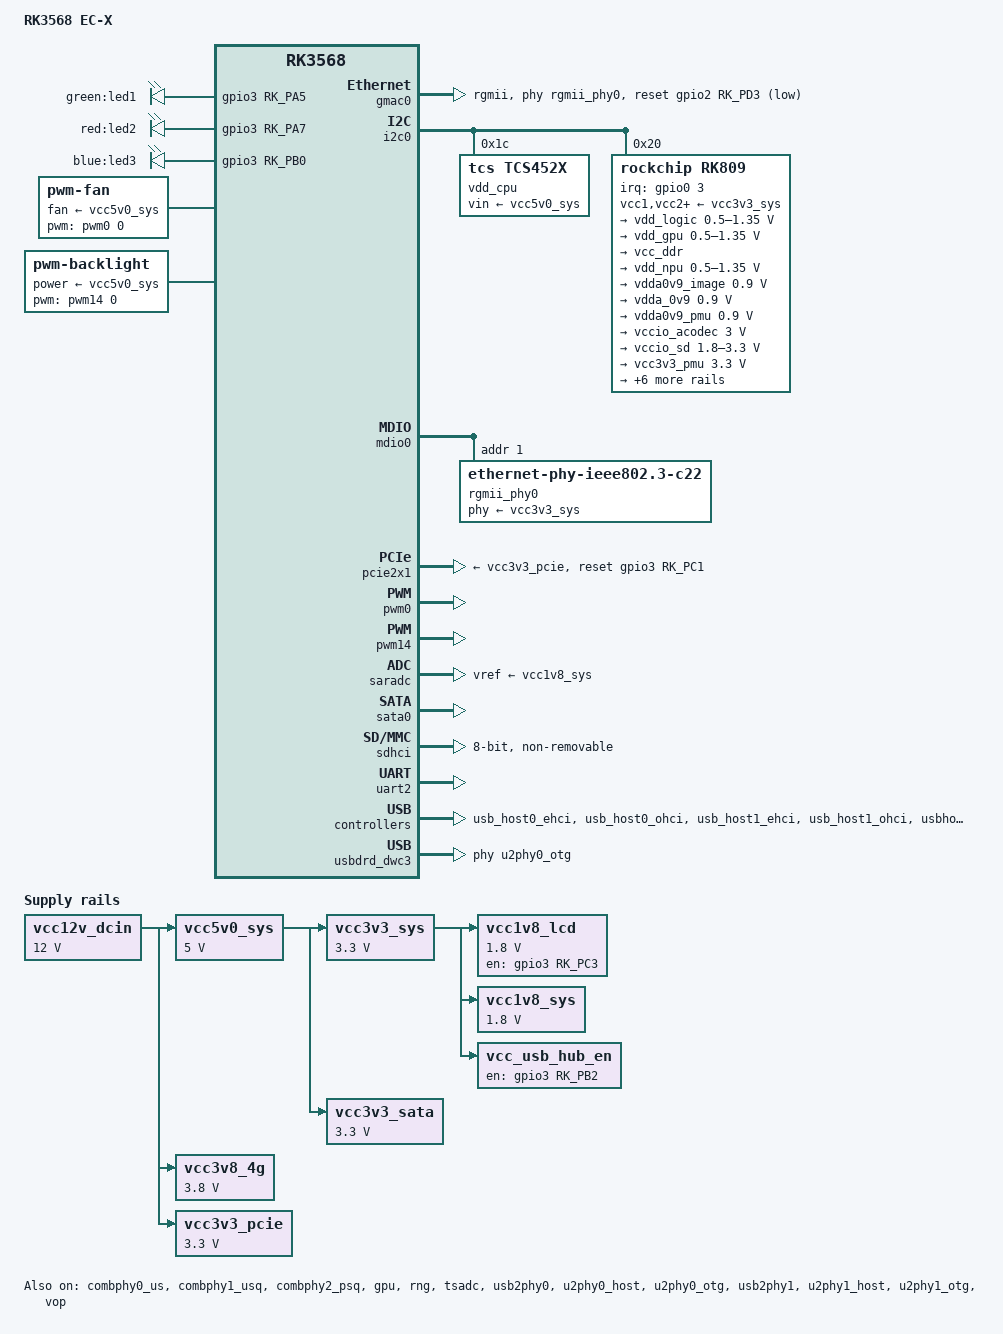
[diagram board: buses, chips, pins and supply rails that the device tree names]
// SPDX-License-Identifier: (GPL-2.0+ OR MIT)
// Copyright (c) 2023 Flippy <flippy@sina.com>

/dts-v1/;

#include <dt-bindings/gpio/gpio.h>
#include <dt-bindings/pinctrl/rockchip.h>
#include <dt-bindings/pwm/pwm.h>
#include <dt-bindings/input/rk-input.h>
#include <dt-bindings/display/drm_mipi_dsi.h>
#include <dt-bindings/display/rockchip_vop.h>
#include <dt-bindings/sensor-dev.h>
#include "rk3568.dtsi"

/ {
	model = "RK3568 EC-X";
	compatible = "rockchip,ec-x", "rockchip,rk3568";

	aliases {
		ethernet0 = &gmac0;
		mmc0 = &sdhci;
	};

	chosen: chosen {
		bootargs = "earlycon=uart8250,mmio32,0xfe660000 console=ttyS2,1500000";
	};

	reserved_memory: reserved-memory {
		#address-cells = <2>;
		#size-cells = <2>;
		ranges;

		cma: cma {
			compatible = "shared-dma-pool";
			reusable;
			size = <0x0 0x10000000>;
			linux,cma-default;
		};

		ramoops: ramoops@110000 {
			compatible = "ramoops";
			reg = <0x0 0x110000 0x0 0xf0000>;
			record-size = <0x20000>;
			console-size = <0x80000>;
			ftrace-size = <0x00000>;
			pmsg-size = <0x50000>;
		};
	};

	leds: leds {
		compatible = "gpio-leds";
		pinctrl-names = "default";
		pinctrl-0 = <&led_green_en>, <&led_red_en>, <&led_blue_en>;

		led_green: led-green {
			label = "green:led1";
			gpios = <&gpio3 RK_PA5 GPIO_ACTIVE_HIGH>;
			linux,default-trigger = "heartbeat";
		};

		led_red: led-red {
			label = "red:led2";
			gpios = <&gpio3 RK_PA7 GPIO_ACTIVE_HIGH>;
		};

		led_blue: led-blue {
			label = "blue:led3";
			gpios = <&gpio3 RK_PB0 GPIO_ACTIVE_HIGH>;
		};
	};

	vcc12v_dcin: vcc12v-dcin-regulator {
		compatible = "regulator-fixed";
		regulator-name = "vcc12v_dcin";
		regulator-always-on;
		regulator-boot-on;
		regulator-min-microvolt = <12000000>;
		regulator-max-microvolt = <12000000>;
	};

	vcc5v0_sys: vcc5v0-sys-regulator {
		compatible = "regulator-fixed";
		regulator-name = "vcc5v0_sys";
		regulator-always-on;
		regulator-boot-on;
		regulator-min-microvolt = <5000000>;
		regulator-max-microvolt = <5000000>;
		vin-supply = <&vcc12v_dcin>;
	};

	vcc3v8_4g: vcc3v8-4g-regulator {
		compatible = "regulator-fixed";
		regulator-name = "vcc3v8_4g";
		regulator-always-on;
		regulator-boot-on;
		regulator-min-microvolt = <3800000>;
		regulator-max-microvolt = <3800000>;
		vin-supply = <&vcc12v_dcin>;
	};

	vcc3v3_pcie: vcc3v3-pcie-regulator {
		compatible = "regulator-fixed";
		regulator-name = "vcc3v3_pcie";
		regulator-always-on;
		regulator-boot-on;
		regulator-min-microvolt = <3300000>;
		regulator-max-microvolt = <3300000>;
		vin-supply = <&vcc12v_dcin>;
	};

	vcc3v3_sys: vcc3v3-sys-regulator {
		compatible = "regulator-fixed";
		regulator-name = "vcc3v3_sys";
		regulator-always-on;
		regulator-boot-on;
		regulator-min-microvolt = <3300000>;
		regulator-max-microvolt = <3300000>;
		vin-supply = <&vcc5v0_sys>;
	};

	vcc1v8_lcd: vcc1v8-lcd-regulator {
		compatible = "regulator-fixed";
		regulator-name = "vcc1v8_lcd";
		regulator-always-on;
		regulator-boot-on;
		regulator-min-microvolt = <1800000>;
		regulator-max-microvolt = <1800000>;

		enable-active-high;
		gpio = <&gpio3 RK_PC3 GPIO_ACTIVE_HIGH>;
		pinctrl-names = "default";
		pinctrl-0 = <&vcc1v8_lcd_pwren_h>;

		vin-supply = <&vcc3v3_sys>;
	};

	vcc3v3_sata: vcc3v3-sata-regulator {
		compatible = "regulator-fixed";
		regulator-name = "vcc3v3_sata";
		regulator-always-on;
		regulator-boot-on;
		regulator-min-microvolt = <3300000>;
		regulator-max-microvolt = <3300000>;
		vin-supply = <&vcc5v0_sys>;
	};

	vcc1v8_sys: vcc1v8-sys-regulator {
		compatible = "regulator-fixed";
		regulator-name = "vcc1v8_sys";
		regulator-always-on;
		regulator-boot-on;
		regulator-min-microvolt = <1800000>;
		regulator-max-microvolt = <1800000>;
		vin-supply = <&vcc3v3_sys>;
	};

	vcc_usb_hub_en: vcc-usb-hub-en {
		compatible = "regulator-fixed";
		regulator-name = "vcc_usb_hub_en";
		regulator-always-on;
		regulator-boot-on;

		enable-active-high;
		gpio = <&gpio3 RK_PB2 GPIO_ACTIVE_HIGH>;
		pinctrl-names = "default";
		pinctrl-0 = <&vcc_usb_hub_en_h>;

		vin-supply = <&vcc3v3_sys>;
	};

	fan: pwm-fan {
		compatible = "pwm-fan";
		#cooling-cells = <2>;
		fan-supply = <&vcc5v0_sys>;
		pwms = <&pwm0 0 45000 0>;
		status = "okay";

		cooling-levels = <0 150 200 255>;
		rockchip,temp-trips = <
			45000	1
			55000	2
			65000	3
		>;
	};

	backlight: backlight {
		compatible = "pwm-backlight";
		power-supply = <&vcc5v0_sys>;
		max-brightness = <255>;
		pwms = <&pwm14 0 5000000 0>; //250Hz
		post-pwm-on-delay-ms = <10>;
		pwm-off-delay-ms = <10>;
	};
};

/* for sata0 & usb_host0_xhci */
&combphy0_us {
	status = "okay";
};

/* for sata1 & usb_host1_xhci */
&combphy1_usq {
	status = "okay";
};

/* for sata2 & pcie2x1 */
&combphy2_psq {
	status = "okay";
};

&cpu0 {
	cpu-supply = <&vdd_cpu>;
};

&cpu1 {
	cpu-supply = <&vdd_cpu>;
};

&cpu2 {
	cpu-supply = <&vdd_cpu>;
};

&cpu3 {
	cpu-supply = <&vdd_cpu>;
};

&gmac0 {
	assigned-clocks = <&cru SCLK_GMAC0_RX_TX>, <&cru SCLK_GMAC0>;
	assigned-clock-parents = <&cru SCLK_GMAC0_RGMII_SPEED>;
	assigned-clock-rates = <0>, <125000000>;
	clock_in_out = "input";
	phy-mode = "rgmii";
	pinctrl-names = "default";
	pinctrl-0 = <&gmac0_miim
		     &gmac0_tx_bus2
		     &gmac0_rx_bus2
		     &gmac0_rgmii_clk
		     &gmac0_rgmii_bus>;
	snps,reset-gpio = <&gpio2 RK_PD3 GPIO_ACTIVE_LOW>;
	snps,reset-active-low;
	snps,reset-delays-us = <0 50000 200000>;
	tx_delay = <0x34>;
	rx_delay = <0x2e>;
	phy-handle = <&rgmii_phy0>;
	status = "okay";
};

&gpu {
	mali-supply = <&vdd_gpu>;
	status = "okay";
};

&i2c0 {
	status = "okay";

	vdd_cpu: tcs4525@1c {
		compatible = "tcs,tcs452x";
		reg = <0x1c>;
		vin-supply = <&vcc5v0_sys>;
		regulator-compatible = "fan53555-reg";
		regulator-name = "vdd_cpu";
		regulator-min-microvolt = <712500>;
		regulator-max-microvolt = <1390000>;
		regulator-init-microvolt = <900000>;
		regulator-initial-mode = <1>;
		regulator-ramp-delay = <2300>;
		fcs,suspend-voltage-selector = <1>;
		regulator-boot-on;
		regulator-always-on;
		regulator-state-mem {
			regulator-off-in-suspend;
		};
	};

	rk809: pmic@20 {
		compatible = "rockchip,rk809";
		reg = <0x20>;
		interrupt-parent = <&gpio0>;
		interrupts = <3 IRQ_TYPE_LEVEL_LOW>;

		pinctrl-names = "default", "pmic-sleep",
				"pmic-power-off", "pmic-reset";
		pinctrl-0 = <&pmic_int>;
		pinctrl-1 = <&soc_slppin_slp>, <&rk817_slppin_slp>;
		pinctrl-2 = <&soc_slppin_gpio>, <&rk817_slppin_pwrdn>;
		pinctrl-3 = <&soc_slppin_gpio>, <&rk817_slppin_rst>;

		rockchip,system-power-controller;
		wakeup-source;
		#clock-cells = <1>;
		clock-output-names = "rk808-clkout1", "rk808-clkout2";
		//fb-inner-reg-idxs = <2>;
		/* 1: rst regs (default in codes), 0: rst the pmic */
		pmic-reset-func = <0>;
		/* not save the PMIC_POWER_EN register in uboot */
		not-save-power-en = <1>;

		vcc1-supply = <&vcc3v3_sys>;
		vcc2-supply = <&vcc3v3_sys>;
		vcc3-supply = <&vcc3v3_sys>;
		vcc4-supply = <&vcc3v3_sys>;
		vcc5-supply = <&vcc3v3_sys>;
		vcc6-supply = <&vcc3v3_sys>;
		vcc7-supply = <&vcc3v3_sys>;
		vcc8-supply = <&vcc3v3_sys>;
		vcc9-supply = <&vcc3v3_sys>;

		pwrkey {
			status = "okay";
		};

		pinctrl_rk8xx: pinctrl_rk8xx {
			gpio-controller;
			#gpio-cells = <2>;

			rk817_slppin_null: rk817_slppin_null {
				pins = "gpio_slp";
				function = "pin_fun0";
			};

			rk817_slppin_slp: rk817_slppin_slp {
				pins = "gpio_slp";
				function = "pin_fun1";
			};

			rk817_slppin_pwrdn: rk817_slppin_pwrdn {
				pins = "gpio_slp";
				function = "pin_fun2";
			};

			rk817_slppin_rst: rk817_slppin_rst {
				pins = "gpio_slp";
				function = "pin_fun3";
			};
		};

		regulators {
			vdd_logic: DCDC_REG1 {
				regulator-always-on;
				regulator-boot-on;
				regulator-min-microvolt = <500000>;
				regulator-max-microvolt = <1350000>;
				regulator-init-microvolt = <900000>;
				regulator-ramp-delay = <6001>;
				regulator-initial-mode = <0x2>;
				regulator-name = "vdd_logic";
				regulator-state-mem {
					regulator-off-in-suspend;
				};
			};

			vdd_gpu: DCDC_REG2 {
				regulator-always-on;
				regulator-boot-on;
				regulator-min-microvolt = <500000>;
				regulator-max-microvolt = <1350000>;
				regulator-init-microvolt = <900000>;
				regulator-ramp-delay = <6001>;
				regulator-initial-mode = <0x2>;
				regulator-name = "vdd_gpu";
				regulator-state-mem {
					regulator-off-in-suspend;
				};
			};

			vcc_ddr: DCDC_REG3 {
				regulator-always-on;
				regulator-boot-on;
				regulator-initial-mode = <0x2>;
				regulator-name = "vcc_ddr";
				regulator-state-mem {
					regulator-on-in-suspend;
				};
			};

			vdd_npu: DCDC_REG4 {
				regulator-always-on;
				regulator-boot-on;
				regulator-min-microvolt = <500000>;
				regulator-max-microvolt = <1350000>;
				regulator-init-microvolt = <900000>;
				regulator-ramp-delay = <6001>;
				regulator-initial-mode = <0x2>;
				regulator-name = "vdd_npu";
				regulator-state-mem {
					regulator-off-in-suspend;
				};
			};

			vdda0v9_image: LDO_REG1 {
				regulator-boot-on;
				regulator-always-on;
				regulator-min-microvolt = <900000>;
				regulator-max-microvolt = <900000>;
				regulator-name = "vdda0v9_image";
				regulator-state-mem {
					regulator-off-in-suspend;
				};
			};

			vdda_0v9: LDO_REG2 {
				regulator-always-on;
				regulator-boot-on;
				regulator-min-microvolt = <900000>;
				regulator-max-microvolt = <900000>;
				regulator-name = "vdda_0v9";
				regulator-state-mem {
					regulator-off-in-suspend;
				};
			};

			vdda0v9_pmu: LDO_REG3 {
				regulator-always-on;
				regulator-boot-on;
				regulator-min-microvolt = <900000>;
				regulator-max-microvolt = <900000>;
				regulator-name = "vdda0v9_pmu";
				regulator-state-mem {
					regulator-on-in-suspend;
					regulator-suspend-microvolt = <900000>;
				};
			};

			vccio_acodec: LDO_REG4 {
				regulator-always-on;
				regulator-boot-on;
				regulator-min-microvolt = <3000000>;
				regulator-max-microvolt = <3000000>;
				regulator-name = "vccio_acodec";
				regulator-state-mem {
					regulator-off-in-suspend;
				};
			};

			vccio_sd: LDO_REG5 {
				regulator-always-on;
				regulator-boot-on;
				regulator-min-microvolt = <1800000>;
				regulator-max-microvolt = <3300000>;
				regulator-name = "vccio_sd";
				regulator-state-mem {
					regulator-off-in-suspend;
				};
			};

			vcc3v3_pmu: LDO_REG6 {
				regulator-always-on;
				regulator-boot-on;
				regulator-min-microvolt = <3300000>;
				regulator-max-microvolt = <3300000>;
				regulator-name = "vcc3v3_pmu";
				regulator-state-mem {
					regulator-on-in-suspend;
					regulator-suspend-microvolt = <3300000>;
				};
			};

			vcca_1v8: LDO_REG7 {
				regulator-always-on;
				regulator-boot-on;
				regulator-min-microvolt = <1800000>;
				regulator-max-microvolt = <1800000>;
				regulator-name = "vcca_1v8";
				regulator-state-mem {
					regulator-off-in-suspend;
				};
			};

			vcca1v8_pmu: LDO_REG8 {
				regulator-always-on;
				regulator-boot-on;
				regulator-min-microvolt = <1800000>;
				regulator-max-microvolt = <1800000>;
				regulator-name = "vcca1v8_pmu";
				regulator-state-mem {
					regulator-on-in-suspend;
					regulator-suspend-microvolt = <1800000>;
				};
			};

			vcca1v8_image: LDO_REG9 {
				regulator-always-on;
				regulator-boot-on;
				regulator-min-microvolt = <1800000>;
				regulator-max-microvolt = <1800000>;
				regulator-name = "vcca1v8_image";
				regulator-state-mem {
					regulator-off-in-suspend;
				};
			};

			vcc_1v8: DCDC_REG5 {
				regulator-always-on;
				regulator-boot-on;
				regulator-min-microvolt = <1800000>;
				regulator-max-microvolt = <1800000>;
				regulator-name = "vcc_1v8";
				regulator-state-mem {
					regulator-off-in-suspend;
				};
			};

			vcc_3v3: SWITCH_REG1 {
				regulator-always-on;
				regulator-boot-on;
				regulator-name = "vcc_3v3";
				regulator-state-mem {
					regulator-off-in-suspend;
				};
			};

			vcc3v3_sd: SWITCH_REG2 {
				regulator-always-on;
				regulator-boot-on;
				regulator-name = "vcc3v3_sd";
				regulator-state-mem {
					regulator-off-in-suspend;
				};
			};
		};
	};
};

&mdio0 {
	rgmii_phy0: ethernet-phy@1 {
		compatible = "ethernet-phy-ieee802.3-c22";
		phy-supply = <&vcc3v3_sys>;
		reg = <0x1>;
	};
};

/* Mini PCIE */
&pcie2x1 {
	reset-gpios = <&gpio3 RK_PC1 GPIO_ACTIVE_HIGH>;
	vpcie3v3-supply = <&vcc3v3_pcie>;
	status = "okay";
};

&pinctrl {
	leds {
		led_green_en: led-green-en {
			rockchip,pins = <3 RK_PA5 RK_FUNC_GPIO &pcfg_pull_none>;
		};

		led_red_en: led-red-en {
			rockchip,pins = <3 RK_PA7 RK_FUNC_GPIO &pcfg_pull_none>;
		};

		led_blue_en: led-blue-en {
			rockchip,pins = <3 RK_PB0 RK_FUNC_GPIO &pcfg_pull_none>;
		};
	};

	lcd {
		vcc1v8_lcd_pwren_h: vcc18vrlcd-pwren-h {
			rockchip,pins = <3 RK_PC3 RK_FUNC_GPIO &pcfg_pull_none>;
		};

		lcd_reset_en_l: lcd-reset-en-l {
			rockchip,pins = <3 RK_PC6 RK_FUNC_GPIO &pcfg_pull_none>;
		};
	};

	pmic {
		pmic_int: pmic_int {
			rockchip,pins =
				<0 RK_PA3 RK_FUNC_GPIO &pcfg_pull_up>;
		};

		soc_slppin_gpio: soc_slppin_gpio {
			rockchip,pins =
				<0 RK_PA2 RK_FUNC_GPIO &pcfg_output_low>;
		};

		soc_slppin_slp: soc_slppin_slp {
			rockchip,pins =
				<0 RK_PA2 1 &pcfg_pull_none>;
		};

		soc_slppin_rst: soc_slppin_rst {
			rockchip,pins =
				<0 RK_PA2 2 &pcfg_pull_none>;
		};
	};

	usb {
		vcc_usb_hub_en_h: vcc-usb-hub-en-h {
			rockchip,pins = <3 RK_PB2 RK_FUNC_GPIO &pcfg_pull_none>;
		};
	};
};

&pmu_io_domains {
	pmuio1-supply = <&vcc3v3_pmu>;
	pmuio2-supply = <&vcc3v3_pmu>;
	vccio1-supply = <&vccio_acodec>;
	vccio2-supply = <&vcc_1v8>;
	vccio3-supply = <&vccio_sd>;
	vccio4-supply = <&vcc_1v8>;
	vccio5-supply = <&vcc_3v3>;
	vccio6-supply = <&vcc_1v8>;
	vccio7-supply = <&vcc_3v3>;
	status = "okay";
};

&pwm0 {
	status = "okay";
};

&pwm14 {
	status = "okay";
};

&rng {
	status = "okay";
};

&saradc {
	vref-supply = <&vcc1v8_sys>;
	status = "okay";
};

/* M.2 NGFF */
&sata0 {
	status = "okay";
	target-supply = <&vcc3v3_sata>;
};

&sdhci {
	bus-width = <8>;
	max-frequency = <200000000>;
	non-removable;
	pinctrl-names = "default";
	pinctrl-0 = <&emmc_bus8 &emmc_clk &emmc_cmd &emmc_datastrobe>;
	status = "okay";
};

&tsadc {
	rockchip,hw-tshut-mode = <1>;
	rockchip,hw-tshut-polarity = <0>;
	status = "okay";
};

&uart2 {
	status = "okay";
};

&usb_host0_ehci {
	status = "okay";
};

&usb_host0_ohci {
	status = "okay";
};

&usbdrd_dwc3 {
	status = "okay";
	phys = <&u2phy0_otg>;
	phy-names = "usb2-phy";
	extcon = <&usb2phy0>;
	maximum-speed = "high-speed";
};

&usb_host1_ehci {
	status = "okay";
};

&usb_host1_ohci {
	status = "okay";
};

&usbhost_dwc3 {
	status = "okay";
};

&usb2phy0 {
	status = "okay";
};

&u2phy0_host {
	status = "okay";
};

&u2phy0_otg {
	status = "okay";
};

&usb2phy1 {
	status = "okay";
};

&u2phy1_host {
	status = "okay";
};

&u2phy1_otg {
	status = "okay";
};

&usbdrd30 {
	status = "okay";
};

&usbhost30 {
	status = "okay";
};

&vop {
	assigned-clocks = <&cru DCLK_VOP0>, <&cru DCLK_VOP1>;
	assigned-clock-parents = <&pmucru PLL_HPLL>, <&cru PLL_VPLL>;
	status = "okay";
};

&vop_mmu {
	status = "okay";
};
